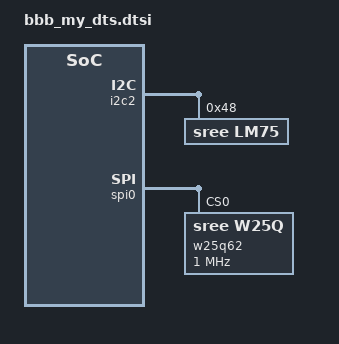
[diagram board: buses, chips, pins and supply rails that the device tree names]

/******************************DEVICE NODE FOR GPIO FOR TESTING WITH LED***************************************/
/{

bb_gpio_dev{
	compatible="org,bb-gpio-sys";
	gpio0{
		label="gpio2.2";
		bb-gpios=<&gpio2 2 GPIO_ACTIVE_HIGH>;  // <gpiocontroller pin active_state_slave>
	};
	gpio1{
		label="gpio2.3";
		bb-gpios=<&gpio2 3 GPIO_ACTIVE_HIGH>;

	};
	gpio2{

		label="gpio2.4";
		bb-gpios=<&gpio2 4 GPIO_ACTIVE_HIGH>;
	

	};
	
	gpio3{
		label="userled0-gpio1.21";
		bb-gpios=<&gpio1 21 GPIO_ACTIVE_HIGH>;
		
	};
	
	gpio4{
		label="userled1-gpio1.22";
		bb-gpios=<&gpio1 22 GPIO_ACTIVE_HIGH>;

	};



};




};

/******************************************************************************************************************************/


/******************* LM75 DT to tell the kernel there is a device of address 0x48 on i2c2 bus**********************************/

&i2c2{
	status= "okay";

	lm75@48{
	compatible="sree,lm75";
	reg=<0x48>;
};


};

/******************************************************************************************************************************/

&am33xx_pinmux {
	spi0_pins: pinmux_spi0_pins {
		pinctrl-single,pins = <
			AM33XX_PADCONF(AM335X_PIN_SPI0_SCLK, PIN_INPUT_PULLUP, MUX_MODE0)
			AM33XX_PADCONF(AM335X_PIN_SPI0_D0,   PIN_INPUT_PULLUP, MUX_MODE0)
			AM33XX_PADCONF(AM335X_PIN_SPI0_D1,   PIN_OUTPUT,       MUX_MODE0)
			AM33XX_PADCONF(AM335X_PIN_SPI0_CS0,  PIN_OUTPUT,       MUX_MODE0)
		>;
	};
};




&spi0{
	pinctrl-names ="default";
	pinctrl-0 = <&spi0_pins>;
	status= "okay";

	 w25q62@0 {
                compatible = "sree,w25q";
                reg = <0>;
                spi-max-frequency = <1000000>;
        };
};
